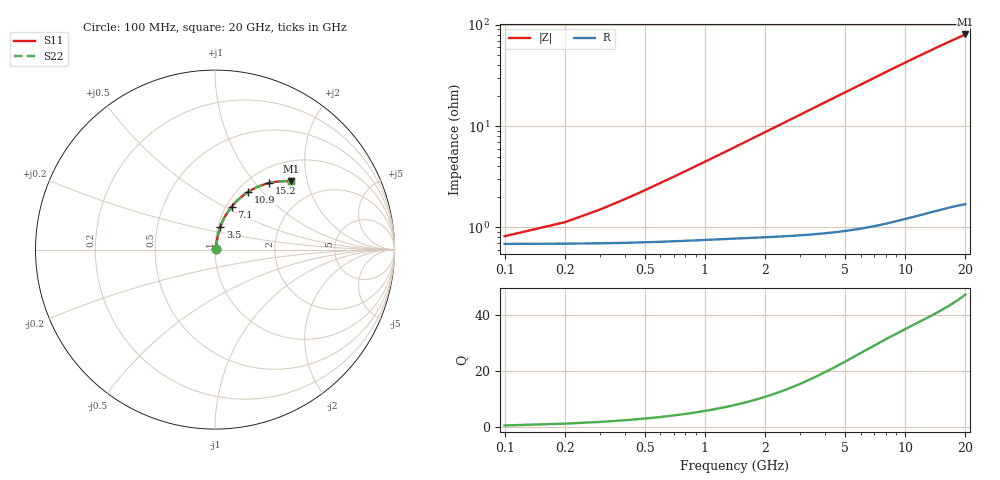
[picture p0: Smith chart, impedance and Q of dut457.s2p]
! Touchstone file exported from HFSS 2026.1.0
!  File:  C:/ffzhzh/LocalFiles/Ansys_Project_Files/temp_train_TMRDL_457_1783005939_46388.aedt
!  Generated:  11:27:05 PM Jul  2, 2026
!  Design:  TMRDL
!  Project:  temp_train_TMRDL_457_1783005939_46388
! Variables:
!  h_bsmrdl = 2um
!  h_ox = 20um
!  h_rdl = 5um
!  h_sub = 80um
!  h_tmrdl = 2.85um
!  h_tsv = 80um
!  h_via = 3um
!  l_bsmrdl = 300um
!  l_sub = 958.01um
!  l_tmrdl = 558.01um
!  m_sub = 200um
!  pitch = 58.75um
!  r_tsv = 6um
!  s_tmrdl = 10um
!  w_bsmrdl = 18um
!  w_sub = 500um
!  w_tmrdl = 10.18um
!  x_tsv_center1 = 563.1um
!  x_tsv_center2 = 881.1um
!  x_tsv_center3 = 1449.29um
!  x_tsv_center4 = 1767.29um
!  x_tsv_center5 = 2335.48um
!  x_tsv_center6 = 2653.48um
# GHz S MA R 50.000000
! Terminal data exported
! Port[1] = TM_RDL1_1_T1
! Port[2] = TM_RDL1_1_T2
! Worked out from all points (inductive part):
!   200 points, 100 MHz to 20 GHz, reference 50 ohm
!   read as one part in series: L = 700 pH near 500 MHz
!   highest Q = 47.4 at 20 GHz (marker M1), where L = 639 pH
!   S11 on the Smith chart (normalised r, x): 100 MHz: 1.01, +0.01; 3.5 GHz: 1.03, +0.27; 7.1 GHz: 1.06, +0.54; 10.9 GHz: 1.12, +0.84; 15.2 GHz: 1.23, +1.19; 20 GHz: 1.42, +1.60
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0.1  0.007853 29.5  0.9932 -0.3  0.9932 -0.3  0.007853 29.5
! Gamma 0 0 0 0
! Port Impedance 50 0 50 0
0.3  0.01357 58.6  0.993 -0.8  0.993 -0.8  0.01357 58.6
0.4  0.01704 64.7  0.9929 -1.1  0.9929 -1.1  0.01704 64.7
0.6  0.02428 71.2  0.9926 -1.7  0.9926 -1.7  0.02428 71.2
0.7  0.02796 73.1  0.9924 -2.0  0.9924 -2.0  0.02796 73.1
0.9  0.03536 75.5  0.992 -2.5  0.992 -2.5  0.03536 75.4
1.2  0.04649 77.3  0.9914 -3.3  0.9914 -3.3  0.04649 77.3
1.7  0.06505 78.4  0.9901 -4.7  0.9901 -4.7  0.06505 78.4
2.2  0.08358 78.5  0.9886 -6.1  0.9886 -6.1  0.08358 78.5
2.8  0.1057 77.9  0.9863 -7.7  0.9863 -7.7  0.1057 77.9
3.5  0.1313 76.8  0.983 -9.6  0.983 -9.6  0.1313 76.7
4.2  0.1566 75.4  0.9791 -11.5  0.9791 -11.5  0.1566 75.4
5  0.185 73.7  0.9738 -13.6  0.9738 -13.6  0.185 73.6
6.8  0.2465 69.5  0.9594 -18.2  0.9594 -18.2  0.2465 69.5
7.1  0.2564 68.8  0.9567 -19.0  0.9567 -19.0  0.2564 68.8
8.5  0.301 65.5  0.9431 -22.5  0.9431 -22.5  0.3011 65.5
10.1  0.349 61.8  0.9259 -26.4  0.9259 -26.4  0.349 61.8
10.9  0.3717 60.0  0.9168 -28.2  0.9168 -28.2  0.3717 59.9
13.4  0.4369 54.6  0.887 -33.8  0.887 -33.8  0.4369 54.5
15.2  0.4786 50.9  0.865 -37.6  0.865 -37.6  0.4787 50.8
16.7  0.5103 47.9  0.8466 -40.6  0.8466 -40.6  0.5103 47.8
20  0.5706 41.9  0.8074 -46.8  0.8074 -46.8  0.5706 41.7
